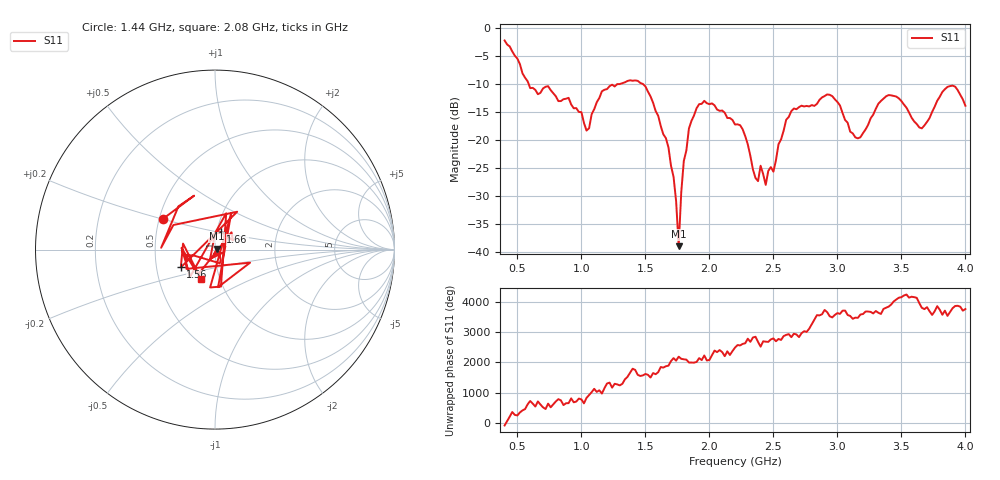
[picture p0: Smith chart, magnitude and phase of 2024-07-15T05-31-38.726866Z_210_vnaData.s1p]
!Created with skrf (http://scikit-rf.org).
# Hz S RI R 50.0
!freq ReS11 ImS11
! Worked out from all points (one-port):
!   181 points, 400 MHz to 4 GHz, reference 50 ohm
!   lowest |S11| = -38.9 dB at 1.76 GHz (marker M1), VSWR 1.02, Z = 51 + j0.53 ohm
!   |S11| at or under -10 dB: 587.5 MHz to 1.305 GHz (717.4 MHz wide, 75.8 % of centre); 1.478 GHz to end of sweep
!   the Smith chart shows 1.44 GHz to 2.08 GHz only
!   S11 on the Smith chart (normalised r, x): 1.44 GHz: 0.52, +0.20; 1.56 GHz: 0.67, -0.14; 1.66 GHz: 1.05, +0.21; 2.08 GHz: 0.81, -0.28
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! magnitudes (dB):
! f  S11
! 400 MHz  -2.3
! 600 MHz  -10.8
! 860 MHz  -12.7
! 1.04 GHz  -18.3
! 1.16 GHz  -11.3
! 1.3 GHz  -10.0
! 1.44 GHz  -9.5
! 1.56 GHz  -13.4
! 1.66 GHz  -19.7
! 1.72 GHz  -26.6
! 1.76 GHz  -38.9
! 1.8 GHz  -23.7
! 1.84 GHz  -17.9
! 1.96 GHz  -13.0
! 2.08 GHz  -14.8
! 2.2 GHz  -17.2
! 2.36 GHz  -26.7
! 2.4 GHz  -24.6
! 2.44 GHz  -28.0
! 2.66 GHz  -14.4
! 2.94 GHz  -12.0
! 3.1 GHz  -18.5
! 3.18 GHz  -19.5
! 3.4 GHz  -12.0
! 3.56 GHz  -15.1
! 3.66 GHz  -17.9
! 3.9 GHz  -10.3
! 4 GHz  -13.9
